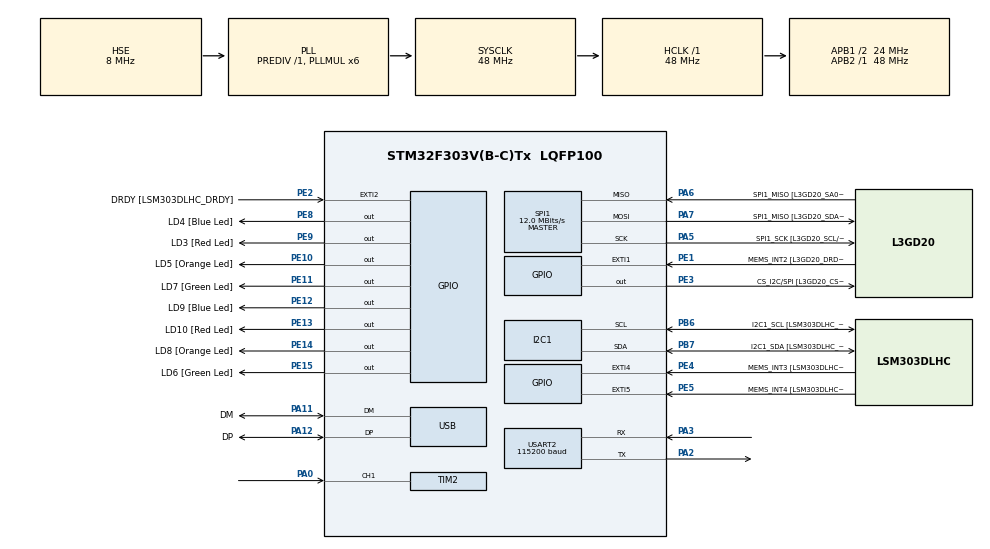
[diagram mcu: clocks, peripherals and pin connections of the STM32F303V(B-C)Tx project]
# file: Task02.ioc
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I2C1.Timing=0x2000090E
I2C1.Timing-I2C=0x2000090E
Mcu.Family=STM32F3
Mcu.Name=STM32F303V(B-C)Tx
Mcu.Package=LQFP100
NVIC.PriorityGroup=NVIC_PRIORITYGROUP_0
NVIC.TIM2_IRQn=true\:0\:0\:false\:false\:true\:true\:true\:true
PA0.GPIO_PuPd=GPIO_PULLDOWN
PA0.Signal=S_TIM2_CH1_ETR
PA11.GPIO_Label=DM
PA11.Mode=Device
PA11.Signal=USB_DM
PA12.GPIO_Label=DP
PA12.Mode=Device
PA12.Signal=USB_DP
PA13.GPIO_Label=SWDIO
PA13.Mode=Serial_Wire
PA13.Signal=SYS_JTMS-SWDIO
PA14.GPIO_Label=SWCLK
PA14.Mode=Serial_Wire
PA14.Signal=SYS_JTCK-SWCLK
PA2.Mode=Asynchronous
PA2.Signal=USART2_TX
PA3.Mode=Asynchronous
PA3.Signal=USART2_RX
PA5.GPIO_Label=SPI1_SCK [L3GD20_SCL/SPC]
PA5.Mode=Full_Duplex_Master
PA5.Signal=SPI1_SCK
PA6.GPIO_Label=SPI1_MISO [L3GD20_SA0/SDO]
PA6.Mode=Full_Duplex_Master
PA6.Signal=SPI1_MISO
PA7.GPIO_Label=SPI1_MISO [L3GD20_SDA/SDI/SDO]
PA7.Mode=Full_Duplex_Master
PA7.Signal=SPI1_MOSI
PB3.GPIO_Label=SWO
PB3.Signal=SYS_JTDO-TRACESWO
PB6.GPIO_Label=I2C1_SCL [LSM303DLHC_SCL]
PB6.GPIO_Pu=GPIO_PULLUP
PB6.Mode=I2C
PB6.Signal=I2C1_SCL
PB7.GPIO_Label=I2C1_SDA [LSM303DLHC_SDA]
PB7.GPIO_Pu=GPIO_PULLUP
PB7.Mode=I2C
PB7.Signal=I2C1_SDA
PC14-OSC32_IN.GPIO_Label=OSC32_IN
PC14-OSC32_IN.Signal=RCC_OSC32_IN
PC15-OSC32_OUT.GPIO_Label=OSC32_OUT
PC15-OSC32_OUT.Signal=RCC_OSC32_OUT
PE1.GPIO_Label=MEMS_INT2 [L3GD20_DRDY/INT2]
PE1.GPIO_ModeDefaultEXTI=GPIO_MODE_EVT_RISING
PE1.Signal=GPXTI1
PE10.GPIO_Label=LD5 [Orange Led]
PE10.Signal=GPIO_Output
PE11.GPIO_Label=LD7 [Green Led]
PE11.Signal=GPIO_Output
PE12.GPIO_Label=LD9 [Blue Led]
PE12.Signal=GPIO_Output
PE13.GPIO_Label=LD10 [Red Led]
PE13.Signal=GPIO_Output
PE14.GPIO_Label=LD8 [Orange Led]
PE14.Signal=GPIO_Output
PE15.GPIO_Label=LD6 [Green Led]
PE15.Signal=GPIO_Output
PE2.GPIO_Label=DRDY [LSM303DLHC_DRDY]
PE2.GPIO_ModeDefaultEXTI=GPIO_MODE_EVT_RISING
PE2.Signal=GPXTI2
PE3.GPIO_Label=CS_I2C/SPI [L3GD20_CS_I2C/SPI]
PE3.Signal=GPIO_Output
PE4.GPIO_Label=MEMS_INT3 [LSM303DLHC_INT1]
PE4.GPIO_ModeDefaultEXTI=GPIO_MODE_EVT_RISING
PE4.Signal=GPXTI4
PE5.GPIO_Label=MEMS_INT4 [LSM303DLHC_INT2]
PE5.GPIO_ModeDefaultEXTI=GPIO_MODE_EVT_RISING
PE5.Signal=GPXTI5
PE8.GPIO_Label=LD4 [Blue Led]
PE8.Signal=GPIO_Output
PE9.GPIO_Label=LD3 [Red Led]
PE9.Signal=GPIO_Output
PF0-OSC_IN.GPIO_Label=OSC_IN
PF0-OSC_IN.Mode=HSE-External-Clock-Source
PF0-OSC_IN.Signal=RCC_OSC_IN
PF1-OSC_OUT.GPIO_Label=OSC_OUT
PF1-OSC_OUT.Signal=RCC_OSC_OUT
ProjectManager.HeapSize=0x200
ProjectManager.StackSize=0x400
ProjectManager.TargetToolchain=CMake
RCC.AHBFreq_Value=48000000
RCC.APB1CLKDivider=RCC_HCLK_DIV2
RCC.APB1Freq_Value=24000000
RCC.APB1TimFreq_Value=48000000
RCC.APB2Freq_Value=48000000
RCC.APB2TimFreq_Value=48000000
RCC.CortexFreq_Value=48000000
RCC.HCLKFreq_Value=48000000
RCC.HSE_VALUE=8000000
RCC.HSI_VALUE=8000000
RCC.LSE_VALUE=32768
RCC.PLLMUL=RCC_PLL_MUL6
RCC.SYSCLKFreq_VALUE=48000000
RCC.SYSCLKSourceVirtual=RCC_SYSCLKSOURCE_PLLCLK
RCC.USBFreq_Value=48000000
SH.S_TIM2_CH1_ETR.0=TIM2_CH1,Input_Capture1_from_TI1
SPI1.BaudRatePrescaler=SPI_BAUDRATEPRESCALER_4
SPI1.BaudRatePrescaler-Full_Duplex_Master=SPI_BAUDRATEPRESCALER_2
SPI1.CalculateBaudRate=12.0 MBits/s
SPI1.CalculateBaudRate-Full_Duplex_Master=24.0 MBits/s
SPI1.Direction=SPI_DIRECTION_2LINES
SPI1.Mode=SPI_MODE_MASTER
SPI1.Mode-Full_Duplex_Master=SPI_MODE_MASTER
SPI1.VirtualType=VM_MASTER
TIM2.Channel-Input_Capture1_from_TI1=TIM_CHANNEL_1
TIM2.Prescaler=71
USART2.BaudRate=115200
USART2.VirtualMode-Asynchronous=VM_ASYNC
board=STM32F3DISCOVERY

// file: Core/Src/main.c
/* USER CODE BEGIN Header */
/**
  ******************************************************************************
  * @file           : main.c
  * @brief          : Main program body
  ******************************************************************************
  * @attention
  *
  * Copyright (c) 2026 STMicroelectronics.
  * All rights reserved.
  *
  * This software is licensed under terms that can be found in the LICENSE file
  * in the root directory of this software component.
  * If no LICENSE file comes with this software, it is provided AS-IS.
  *
  ******************************************************************************
  */
/* USER CODE END Header */
#include "main.h"
#include <stdio.h>
#include <string.h>
#include <stdarg.h>

I2C_HandleTypeDef hi2c1;

SPI_HandleTypeDef hspi1;

TIM_HandleTypeDef htim2;

UART_HandleTypeDef huart2;

PCD_HandleTypeDef hpcd_USB_FS;

void SystemClock_Config(void);
static void MX_GPIO_Init(void);
static void MX_I2C1_Init(void);
static void MX_SPI1_Init(void);
static void MX_TIM2_Init(void);
static void MX_USART2_UART_Init(void);
static void MX_USB_PCD_Init(void);

/* USER CODE BEGIN 0 */
int captureIndex = 0;
uint32_t captureValues[20];
int shouldDisplay = 0;
void HAL_TIM_IC_CaptureCallback(TIM_HandleTypeDef *htim){
    if (htim->Instance == TIM2){
        uint32_t capturedVal = HAL_TIM_ReadCapturedValue(htim, TIM_CHANNEL_1);
        captureIndex++;

        if (captureIndex == 1){
            __HAL_TIM_SET_COUNTER(&htim2, 0);
        }

        if ((captureIndex > 1) && (captureIndex < 22)){
            captureValues[captureIndex - 2] = capturedVal;
            __HAL_TIM_SET_COUNTER(&htim2, 0);
        }

        if (captureIndex == 22){
            shouldDisplay = 1;
            captureIndex = 0;
        }
    }
}

void uartOutput(const char *formatString, ...) {
    char sendBuffer[128];
    va_list varArgs;
    va_start(varArgs, formatString);
    int charCount = vsnprintf(sendBuffer, sizeof(sendBuffer), formatString, varArgs);
    va_end(varArgs);
    if (charCount > 0) {
        HAL_UART_Transmit(&huart2, (uint8_t*)sendBuffer, charCount, HAL_MAX_DELAY);
    }
}
/* USER CODE END 0 */

int main(void)
{

  /* MCU Configuration--------------------------------------------------------*/

  /* Reset of all peripherals, Initializes the Flash interface and the Systick. */
  HAL_Init();

  /* Configure the system clock */
  SystemClock_Config();

  /* Initialize all configured peripherals */
  MX_GPIO_Init();
  MX_I2C1_Init();
  MX_SPI1_Init();
  MX_TIM2_Init();
  MX_USART2_UART_Init();
  MX_USB_PCD_Init();
  /* USER CODE BEGIN 2 */
  HAL_TIM_IC_Start_IT(&htim2, TIM_CHANNEL_1);
  /* USER CODE END 2 */

  /* Infinite loop */
  /* USER CODE BEGIN WHILE */

  while (1){
    uint32_t totalSum = 0;

    if (shouldDisplay == 1){
        for (int i = 0; i < 20; i++){
            totalSum += captureValues[i];
        }
        float avgValue = (float)totalSum / 20.0f;
        float measuredFreq = 666666.0f / avgValue;
        uartOutput("Freq= %d Hz\r\n",(int)measuredFreq);
        shouldDisplay = 0;
        captureIndex = 0;
    }
    HAL_Delay(1000);
  }
  /* USER CODE END 3 */
}

void SystemClock_Config(void)
{
  RCC_OscInitTypeDef RCC_OscInitStruct = {0};
  RCC_ClkInitTypeDef RCC_ClkInitStruct = {0};
  RCC_PeriphCLKInitTypeDef PeriphClkInit = {0};

  /** Initializes the RCC Oscillators according to the specified parameters
  * in the RCC_OscInitTypeDef structure.
  */
  RCC_OscInitStruct.OscillatorType = RCC_OSCILLATORTYPE_HSI|RCC_OSCILLATORTYPE_HSE;
  RCC_OscInitStruct.HSEState = RCC_HSE_BYPASS;
  RCC_OscInitStruct.HSEPredivValue = RCC_HSE_PREDIV_DIV1;
  RCC_OscInitStruct.HSIState = RCC_HSI_ON;
  RCC_OscInitStruct.HSICalibrationValue = RCC_HSICALIBRATION_DEFAULT;
  RCC_OscInitStruct.PLL.PLLState = RCC_PLL_ON;
  RCC_OscInitStruct.PLL.PLLSource = RCC_PLLSOURCE_HSE;
  RCC_OscInitStruct.PLL.PLLMUL = RCC_PLL_MUL6;
  if (HAL_RCC_OscConfig(&RCC_OscInitStruct) != HAL_OK)
  {
    Error_Handler();
  }

  /** Initializes the CPU, AHB and APB buses clocks
  */
  RCC_ClkInitStruct.ClockType = RCC_CLOCKTYPE_HCLK|RCC_CLOCKTYPE_SYSCLK
                              |RCC_CLOCKTYPE_PCLK1|RCC_CLOCKTYPE_PCLK2;
  RCC_ClkInitStruct.SYSCLKSource = RCC_SYSCLKSOURCE_PLLCLK;
  RCC_ClkInitStruct.AHBCLKDivider = RCC_SYSCLK_DIV1;
  RCC_ClkInitStruct.APB1CLKDivider = RCC_HCLK_DIV2;
  RCC_ClkInitStruct.APB2CLKDivider = RCC_HCLK_DIV1;

  if (HAL_RCC_ClockConfig(&RCC_ClkInitStruct, FLASH_LATENCY_1) != HAL_OK)
  {
    Error_Handler();
  }
  PeriphClkInit.PeriphClockSelection = RCC_PERIPHCLK_USB|RCC_PERIPHCLK_USART2
                              |RCC_PERIPHCLK_I2C1;
  PeriphClkInit.Usart2ClockSelection = RCC_USART2CLKSOURCE_PCLK1;
  PeriphClkInit.I2c1ClockSelection = RCC_I2C1CLKSOURCE_HSI;
  PeriphClkInit.USBClockSelection = RCC_USBCLKSOURCE_PLL;
  if (HAL_RCCEx_PeriphCLKConfig(&PeriphClkInit) != HAL_OK)
  {
    Error_Handler();
  }
}

static void MX_I2C1_Init(void)
{

  hi2c1.Instance = I2C1;
  hi2c1.Init.Timing = 0x2000090E;
  hi2c1.Init.OwnAddress1 = 0;
  hi2c1.Init.AddressingMode = I2C_ADDRESSINGMODE_7BIT;
  hi2c1.Init.DualAddressMode = I2C_DUALADDRESS_DISABLE;
  hi2c1.Init.OwnAddress2 = 0;
  hi2c1.Init.OwnAddress2Masks = I2C_OA2_NOMASK;
  hi2c1.Init.GeneralCallMode = I2C_GENERALCALL_DISABLE;
  hi2c1.Init.NoStretchMode = I2C_NOSTRETCH_DISABLE;
  if (HAL_I2C_Init(&hi2c1) != HAL_OK)
  {
    Error_Handler();
  }

  /** Configure Analogue filter
  */
  if (HAL_I2CEx_ConfigAnalogFilter(&hi2c1, I2C_ANALOGFILTER_ENABLE) != HAL_OK)
  {
    Error_Handler();
  }

  /** Configure Digital filter
  */
  if (HAL_I2CEx_ConfigDigitalFilter(&hi2c1, 0) != HAL_OK)
  {
    Error_Handler();
  }

}

static void MX_SPI1_Init(void)
{

  /* SPI1 parameter configuration*/
  hspi1.Instance = SPI1;
  hspi1.Init.Mode = SPI_MODE_MASTER;
  hspi1.Init.Direction = SPI_DIRECTION_2LINES;
  hspi1.Init.DataSize = SPI_DATASIZE_4BIT;
  hspi1.Init.CLKPolarity = SPI_POLARITY_LOW;
  hspi1.Init.CLKPhase = SPI_PHASE_1EDGE;
  hspi1.Init.NSS = SPI_NSS_SOFT;
  hspi1.Init.BaudRatePrescaler = SPI_BAUDRATEPRESCALER_4;
  hspi1.Init.FirstBit = SPI_FIRSTBIT_MSB;
  hspi1.Init.TIMode = SPI_TIMODE_DISABLE;
  hspi1.Init.CRCCalculation = SPI_CRCCALCULATION_DISABLE;
  hspi1.Init.CRCPolynomial = 7;
  hspi1.Init.CRCLength = SPI_CRC_LENGTH_DATASIZE;
  hspi1.Init.NSSPMode = SPI_NSS_PULSE_ENABLE;
  if (HAL_SPI_Init(&hspi1) != HAL_OK)
  {
    Error_Handler();
  }

}

static void MX_TIM2_Init(void)
{

  TIM_MasterConfigTypeDef sMasterConfig = {0};
  TIM_IC_InitTypeDef sConfigIC = {0};

  htim2.Instance = TIM2;
  htim2.Init.Prescaler = 71;
  htim2.Init.CounterMode = TIM_COUNTERMODE_UP;
  htim2.Init.Period = 4294967295;
  htim2.Init.ClockDivision = TIM_CLOCKDIVISION_DIV1;
  htim2.Init.AutoReloadPreload = TIM_AUTORELOAD_PRELOAD_DISABLE;
  if (HAL_TIM_IC_Init(&htim2) != HAL_OK)
  {
    Error_Handler();
  }
  sMasterConfig.MasterOutputTrigger = TIM_TRGO_RESET;
  sMasterConfig.MasterSlaveMode = TIM_MASTERSLAVEMODE_DISABLE;
  if (HAL_TIMEx_MasterConfigSynchronization(&htim2, &sMasterConfig) != HAL_OK)
  {
    Error_Handler();
  }
  sConfigIC.ICPolarity = TIM_INPUTCHANNELPOLARITY_RISING;
  sConfigIC.ICSelection = TIM_ICSELECTION_DIRECTTI;
  sConfigIC.ICPrescaler = TIM_ICPSC_DIV1;
  sConfigIC.ICFilter = 0;
  if (HAL_TIM_IC_ConfigChannel(&htim2, &sConfigIC, TIM_CHANNEL_1) != HAL_OK)
  {
    Error_Handler();
  }

}

static void MX_USART2_UART_Init(void)
{

  huart2.Instance = USART2;
  huart2.Init.BaudRate = 115200;
  huart2.Init.WordLength = UART_WORDLENGTH_8B;
  huart2.Init.StopBits = UART_STOPBITS_1;
  huart2.Init.Parity = UART_PARITY_NONE;
  huart2.Init.Mode = UART_MODE_TX_RX;
  huart2.Init.HwFlowCtl = UART_HWCONTROL_NONE;
  huart2.Init.OverSampling = UART_OVERSAMPLING_16;
  huart2.Init.OneBitSampling = UART_ONE_BIT_SAMPLE_DISABLE;
  huart2.AdvancedInit.AdvFeatureInit = UART_ADVFEATURE_NO_INIT;
  if (HAL_UART_Init(&huart2) != HAL_OK)
  {
    Error_Handler();
  }

}

static void MX_USB_PCD_Init(void)
{

  hpcd_USB_FS.Instance = USB;
  hpcd_USB_FS.Init.dev_endpoints = 8;
  hpcd_USB_FS.Init.speed = PCD_SPEED_FULL;
  hpcd_USB_FS.Init.phy_itface = PCD_PHY_EMBEDDED;
  hpcd_USB_FS.Init.low_power_enable = DISABLE;
  hpcd_USB_FS.Init.battery_charging_enable = DISABLE;
  if (HAL_PCD_Init(&hpcd_USB_FS) != HAL_OK)
  {
    Error_Handler();
  }

}

static void MX_GPIO_Init(void)
{
  GPIO_InitTypeDef GPIO_InitStruct = {0};

  /* GPIO Ports Clock Enable */
  __HAL_RCC_GPIOE_CLK_ENABLE();
  __HAL_RCC_GPIOC_CLK_ENABLE();
  __HAL_RCC_GPIOF_CLK_ENABLE();
  __HAL_RCC_GPIOA_CLK_ENABLE();
  __HAL_RCC_GPIOB_CLK_ENABLE();

  /*Configure GPIO pin Output Level */
  HAL_GPIO_WritePin(GPIOE, CS_I2C_SPI_Pin|LD4_Pin|LD3_Pin|LD5_Pin
                          |LD7_Pin|LD9_Pin|LD10_Pin|LD8_Pin
                          |LD6_Pin, GPIO_PIN_RESET);

  /*Configure GPIO pins : DRDY_Pin MEMS_INT3_Pin MEMS_INT4_Pin MEMS_INT2_Pin */
  GPIO_InitStruct.Pin = DRDY_Pin|MEMS_INT3_Pin|MEMS_INT4_Pin|MEMS_INT2_Pin;
  GPIO_InitStruct.Mode = GPIO_MODE_EVT_RISING;
  GPIO_InitStruct.Pull = GPIO_NOPULL;
  HAL_GPIO_Init(GPIOE, &GPIO_InitStruct);

  /*Configure GPIO pins : CS_I2C_SPI_Pin LD4_Pin LD3_Pin LD5_Pin
                           LD7_Pin LD9_Pin LD10_Pin LD8_Pin
                           LD6_Pin */
  GPIO_InitStruct.Pin = CS_I2C_SPI_Pin|LD4_Pin|LD3_Pin|LD5_Pin
                          |LD7_Pin|LD9_Pin|LD10_Pin|LD8_Pin
                          |LD6_Pin;
  GPIO_InitStruct.Mode = GPIO_MODE_OUTPUT_PP;
  GPIO_InitStruct.Pull = GPIO_NOPULL;
  GPIO_InitStruct.Speed = GPIO_SPEED_FREQ_LOW;
  HAL_GPIO_Init(GPIOE, &GPIO_InitStruct);

}

void Error_Handler(void)
{
  __disable_irq();
  while (1)
  {
  }
}
